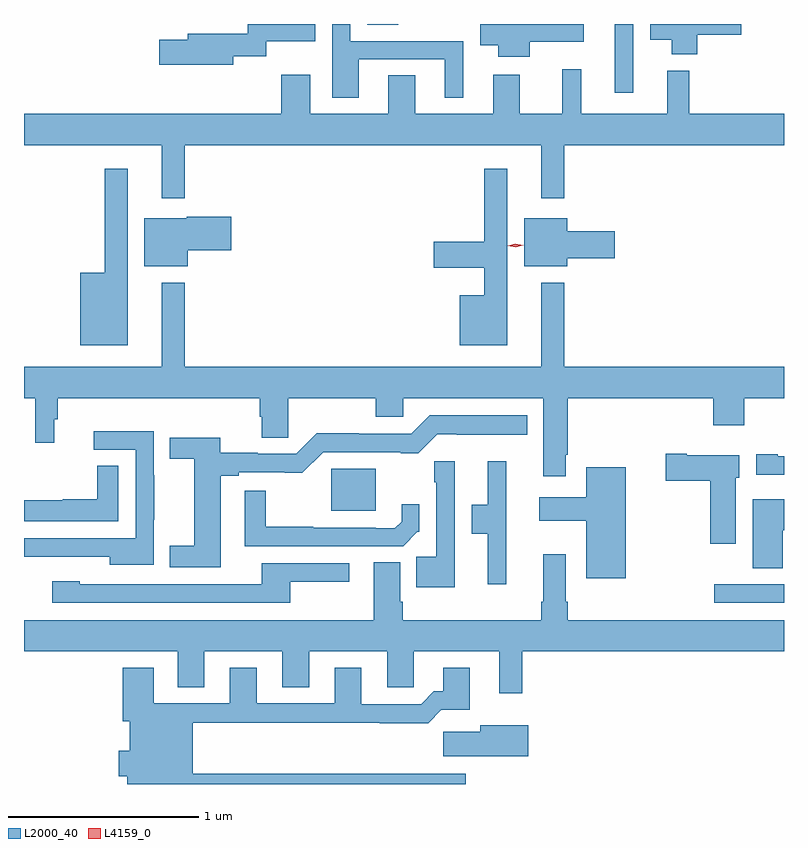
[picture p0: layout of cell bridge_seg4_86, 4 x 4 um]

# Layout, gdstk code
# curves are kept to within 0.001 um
import gdstk
lib = gdstk.Library(unit=1e-6, precision=1e-09)
def R(c, l, rs):  # rectangles x0, y0, x1, y1
    for r in rs: c.add(gdstk.rectangle(r[:2], r[2:], *l))
def P(c, l, *ps):  # polygons
    for p in ps: c.add(gdstk.Polygon(p, *l))
L2000_40 = (2000, 40)
L4159_0 = (4159, 0)

bridge_seg4_86 = lib.new_cell('bridge_seg4_86')
R(bridge_seg4_86, L2000_40, [(471.951,795.744,472.319,795.84), (469.937,796.226,470.17,796.447), (471.428,798.426,471.525,798.789), (470.126,798.784,470.29,798.789)])
P(bridge_seg4_86, L2000_40, [(470.982,798.695),(471.265,798.695),(471.265,798.789),(470.72,798.789),(470.72,798.677),(470.816,798.677),(470.816,798.617),(470.982,798.617)],
  [(470.08,798.603),(470.534,798.603),(470.534,798.402),(470.632,798.402),(470.632,798.699),(470.037,798.699),(470.037,798.789),(469.941,798.789),(469.941,798.402),(470.08,798.402)],
  [(469.42,798.618),(469.593,798.618),(469.593,798.698),(469.852,798.698),(469.852,798.789),(469.497,798.789),(469.497,798.739),(469.181,798.739),(469.181,798.705),(469.032,798.705),(469.032,798.575),(469.42,798.575)],
  [(471.863,798.733),(472.093,798.733),(472.093,798.789),(471.614,798.789),(471.614,798.707),(471.728,798.707),(471.728,798.629),(471.863,798.629)],
  [(469.165,798.152),(471.041,798.152),(471.041,797.871),(471.163,797.871),(471.163,798.152),(472.319,798.152),(472.319,798.316),(471.821,798.316),(471.821,798.544),(471.704,798.544),(471.704,798.316),(471.251,798.316),(471.251,798.55),(471.151,798.55),(471.151,798.316),(470.929,798.316),(470.929,798.523),(470.789,798.523),(470.789,798.316),(470.377,798.316),(470.377,798.518),(470.237,798.518),(470.237,798.316),(469.825,798.316),(469.825,798.523),(469.673,798.523),(469.673,798.316),(468.319,798.316),(468.319,798.152),(469.043,798.152),(469.043,797.871),(469.165,797.871)],
  [(468.865,798.028),(468.744,798.028),(468.744,797.479),(468.614,797.479),(468.614,797.099),(468.865,797.099)],
  [(470.863,798.028),(470.742,798.028),(470.742,797.642),(470.475,797.642),(470.475,797.507),(470.742,797.507),(470.742,797.362),(470.612,797.362),(470.612,797.099),(470.863,797.099)],
  [(469.18,797.597),(469.411,797.597),(469.411,797.775),(469.176,797.775),(469.176,797.767),(468.953,797.767),(468.953,797.513),(469.18,797.513)],
  [(471.178,797.555),(471.427,797.555),(471.427,797.697),(471.178,797.697),(471.178,797.767),(470.951,797.767),(470.951,797.513),(471.178,797.513)],
  [(469.165,797.428),(469.043,797.428),(469.043,796.984),(468.319,796.984),(468.319,796.82),(468.377,796.82),(468.377,796.584),(468.478,796.584),(468.478,796.71),(468.496,796.71),(468.496,796.82),(469.559,796.82),(469.559,796.722),(469.571,796.722),(469.571,796.612),(469.71,796.612),(469.71,796.82),(470.17,796.82),(470.17,796.722),(470.316,796.722),(470.316,796.82),(471.053,796.82),(471.053,796.41),(471.169,796.41),(471.169,796.522),(471.182,796.522),(471.182,796.82),(471.947,796.82),(471.947,796.677),(472.111,796.677),(472.111,796.82),(472.319,796.82),(472.319,796.984),(471.163,796.984),(471.163,797.428),(471.041,797.428),(471.041,796.984),(469.165,796.984)],
  [(469.354,796.411),(469.45,796.411),(469.45,796.431),(469.691,796.431),(469.691,796.426),(469.783,796.426),(469.893,796.536),(470.303,796.536),(470.303,796.531),(470.395,796.531),(470.493,796.629),(470.968,796.628),(470.968,796.729),(470.455,796.729),(470.358,796.632),(470.081,796.632),(470.081,796.634),(469.859,796.634),(469.752,796.527),(469.548,796.527),(469.548,796.532),(469.351,796.532),(469.351,796.612),(469.087,796.612),(469.087,796.501),(469.214,796.501),(469.214,796.044),(469.087,796.044),(469.087,795.929),(469.354,795.929)],
  [(469.002,796.18),(469.004,796.18),(469.004,796.415),(469.002,796.415),(469.002,796.645),(468.687,796.645),(468.687,796.548),(468.906,796.548),(468.906,796.083),(468.319,796.083),(468.319,795.986),(468.77,795.986),(468.77,795.944),(469.002,795.944)],
  [(472.066,796.401),(472.084,796.401),(472.084,796.519),(471.808,796.519),(471.808,796.527),(471.696,796.527),(471.696,796.385),(471.931,796.385),(471.931,796.053),(472.066,796.053)],
  [(472.319,796.513),(472.285,796.513),(472.285,796.525),(472.173,796.525),(472.173,796.416),(472.319,796.416)],
  [(470.858,796.116),(470.857,796.116),(470.857,796.489),(470.759,796.489),(470.759,796.26),(470.675,796.26),(470.675,796.105),(470.759,796.105),(470.759,795.84),(470.858,795.84)],
  [(470.586,796.489),(470.478,796.489),(470.478,796.376),(470.49,796.376),(470.49,795.985),(470.384,795.985),(470.384,795.824),(470.586,795.824)],
  [(468.816,796.463),(468.704,796.463),(468.704,796.289),(468.523,796.289),(468.523,796.282),(468.319,796.282),(468.319,796.173),(468.816,796.173)],
  [(471.487,796.456),(471.278,796.456),(471.278,796.297),(471.03,796.297),(471.03,796.175),(471.278,796.175),(471.278,795.872),(471.487,795.872)],
  [(470.389,796.116),(470.4,796.116),(470.4,796.261),(470.306,796.261),(470.306,796.17),(470.27,796.134),(470.171,796.134),(470.171,796.137),(469.841,796.137),(469.841,796.142),(469.591,796.142),(469.591,796.333),(469.482,796.333),(469.482,796.041),(470.314,796.041)],
  [(472.312,796.124),(472.319,796.124),(472.319,796.288),(472.154,796.288),(472.154,795.925),(472.312,795.925)],
  [(468.319,795.488),(469.127,795.488),(469.127,795.298),(469.267,795.298),(469.267,795.488),(469.679,795.488),(469.679,795.298),(469.819,795.298),(469.819,795.488),(470.231,795.488),(470.231,795.298),(470.37,795.298),(470.37,795.488),(470.819,795.488),(470.819,795.267),(470.941,795.267),(470.941,795.488),(472.319,795.488),(472.319,795.652),(471.182,795.652),(471.182,795.748),(471.169,795.748),(471.169,795.997),(471.053,795.997),(471.053,795.748),(471.041,795.748),(471.041,795.652),(470.312,795.652),(470.312,795.748),(470.299,795.748),(470.299,795.956),(470.159,795.956),(470.159,795.652),(468.319,795.652)],
  [(469.719,795.854),(470.032,795.854),(470.032,795.951),(469.571,795.951),(469.571,795.84),(468.612,795.84),(468.612,795.856),(468.468,795.856),(468.468,795.744),(469.719,795.744)],
  [(470.644,794.842),(469.207,794.842),(469.207,795.112),(470.191,795.112),(470.191,795.11),(470.447,795.11),(470.516,795.179),(470.665,795.179),(470.665,795.4),(470.525,795.4),(470.525,795.277),(470.476,795.277),(470.409,795.21),(470.095,795.21),(470.095,795.4),(469.955,795.4),(469.955,795.213),(469.543,795.213),(469.543,795.4),(469.403,795.4),(469.403,795.213),(469.003,795.213),(469.003,795.4),(468.839,795.4),(468.839,795.12),(468.875,795.12),(468.875,794.965),(468.818,794.965),(468.818,794.831),(468.863,794.831),(468.863,794.789),(470.644,794.789)],
  [(470.974,795.097),(470.72,795.097),(470.72,795.065),(470.526,795.065),(470.526,794.936),(470.974,794.936)])
P(bridge_seg4_86, L4159_0, [(470.906,797.613),(470.865,797.622),(470.865,797.622),(470.865,797.622),(470.905,797.633),(470.946,797.624),(470.946,797.624),(470.946,797.624)])

lib.write_gds('bridge_seg4_86.gds')
